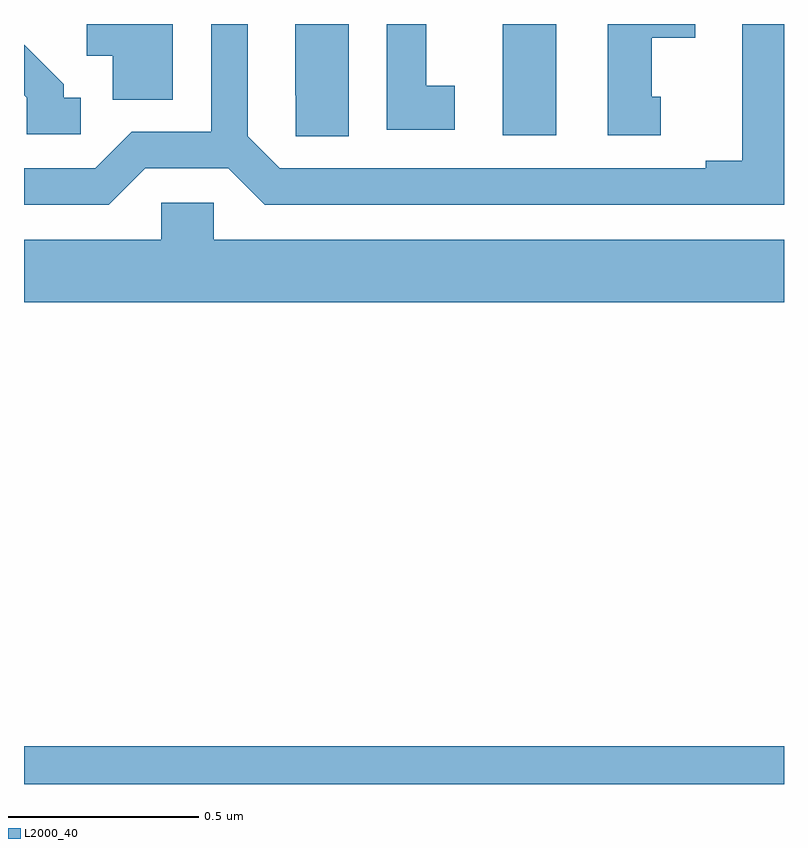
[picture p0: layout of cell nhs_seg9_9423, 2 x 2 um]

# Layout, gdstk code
import gdstk
lib = gdstk.Library(unit=1e-6, precision=1e-09)
def R(c, l, rs):  # rectangles x0, y0, x1, y1
    for r in rs: c.add(gdstk.rectangle(r[:2], r[2:], *l))
def P(c, l, *ps):  # polygons
    for p in ps: c.add(gdstk.Polygon(p, *l))
L2000_40 = (2000, 40)

nhs_seg9_9423 = lib.new_cell('nhs_seg9_9423')
R(nhs_seg9_9423, L2000_40, [(230,1180.5,232,1180.6), (231.26,1182.207,231.4,1182.5)])
P(nhs_seg9_9423, L2000_40, [(231.676,1182.309),(231.652,1182.309),(231.652,1182.464),(231.766,1182.464),(231.766,1182.5),(231.536,1182.5),(231.536,1182.207),(231.676,1182.207)],
  [(230.319,1182.12),(230.537,1182.12),(230.633,1182.024),(232,1182.024),(232,1182.5),(231.89,1182.5),(231.89,1182.14),(231.794,1182.14),(231.794,1182.12),(230.673,1182.12),(230.589,1182.204),(230.589,1182.5),(230.493,1182.5),(230.493,1182.216),(230.283,1182.216),(230.187,1182.12),(230,1182.12),(230,1182.024),(230.223,1182.024)],
  [(231.133,1182.338),(231.058,1182.338),(231.058,1182.5),(230.954,1182.5),(230.954,1182.222),(231.133,1182.222)],
  [(230.392,1182.5),(230.165,1182.5),(230.165,1182.416),(230.234,1182.416),(230.234,1182.301),(230.392,1182.301)],
  [(230.854,1182.5),(230.714,1182.5),(230.714,1182.313),(230.715,1182.313),(230.715,1182.205),(230.854,1182.205)],
  [(230.149,1182.306),(230.104,1182.306),(230.104,1182.341),(230,1182.445),(230,1182.313),(230.007,1182.306),(230.007,1182.21),(230.149,1182.21)],
  [(232,1181.932),(230.499,1181.932),(230.499,1182.03),(230.361,1182.03),(230.361,1181.932),(230,1181.932),(230,1181.768),(232,1181.768)])

lib.write_gds('nhs_seg9_9423.gds')
